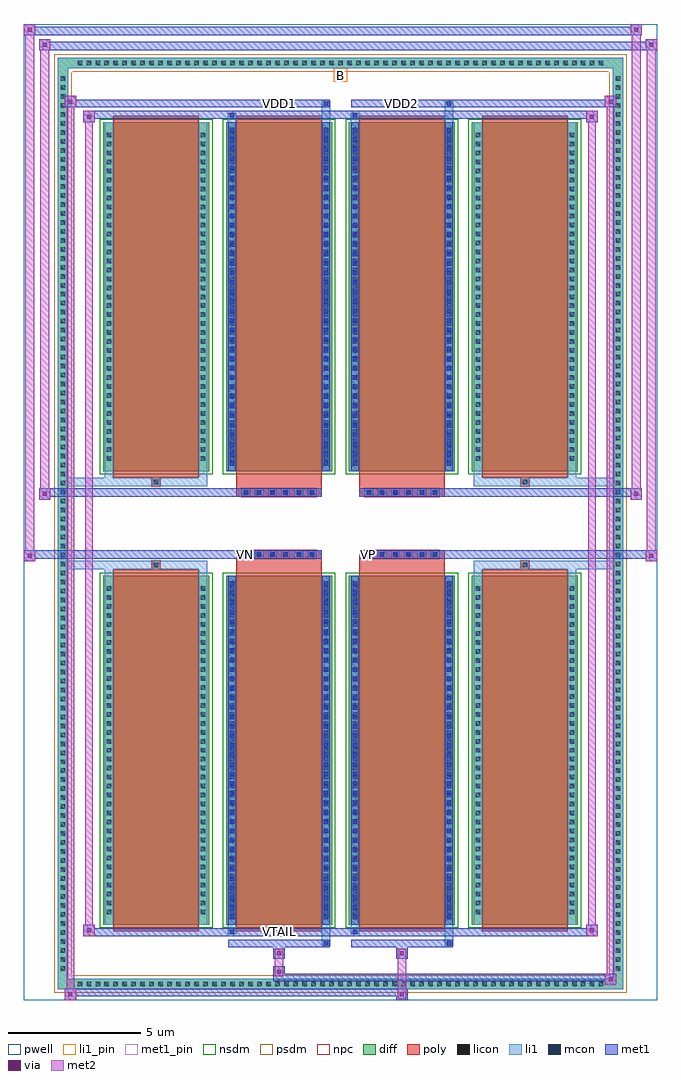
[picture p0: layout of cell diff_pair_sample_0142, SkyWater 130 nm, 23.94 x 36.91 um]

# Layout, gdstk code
import gdstk
lib = gdstk.Library(unit=1e-6, precision=5e-09)
def R(c, l, rs):  # rectangles x0, y0, x1, y1
    for r in rs: c.add(gdstk.rectangle(r[:2], r[2:], *l))
def A(c, l, x, y, w, h, nx, ny, dx, dy):  # array of equal rectangles
    R(c, l, [(x+i*dx, y+j*dy, x+i*dx+w, y+j*dy+h) for i in range(nx) for j in range(ny)])
def P(c, l, *ps):  # polygons
    for p in ps: c.add(gdstk.Polygon(p, *l))
pwell = (64, 44)
diff = (65, 20)
poly = (66, 20)
licon = (66, 44)
li1_pin = (67, 16)
li1 = (67, 20)
mcon = (67, 44)
met1_pin = (68, 16)
met1 = (68, 20)
via = (68, 44)
met2 = (69, 20)
nsdm = (93, 44)
psdm = (94, 20)
npc = (95, 20)

diff_pair_sample_0142 = lib.new_cell('diff_pair_sample_0142')
R(diff_pair_sample_0142, pwell, [(-11.97,-18.02,11.97,18.89), (-9.29,-16.21,-0.01,-0.805), (0.01,-16.21,9.29,-0.805), (-9.29,0.805,-0.01,16.21), (0.01,0.805,9.29,16.21)])
A(diff_pair_sample_0142, diff, -10.065, -17.62, 0.41, 0.41, 59, 2, 0.34, 34.83)
A(diff_pair_sample_0142, diff, -10.7, -17.035, 0.41, 0.41, 1, 100, 0, 0.34)
A(diff_pair_sample_0142, diff, 10.29, -17.035, 0.41, 0.41, 1, 100, 0, 0.34)
A(diff_pair_sample_0142, diff, -8.98, -15.165, 4.01, 13.18, 4, 2, 4.65, 17.15)
R(diff_pair_sample_0142, diff, [(-10.065,-17.62,10.065,-17.21), (-10.7,-17.035,-10.29,17.035), (10.29,-17.035,10.7,17.035), (-10.065,17.21,10.065,17.62)])
P(diff_pair_sample_0142, diff, [(10.7,17.62),(-10.7,17.62),(-10.7,-17.21),(-10.29,-17.21),(-10.29,17.21),(10.29,17.21),(10.29,-17.21),(-10.29,-17.21),(-10.7,-17.21),(-10.7,-17.62),(10.7,-17.62)])
A(diff_pair_sample_0142, poly, -8.59, -15.415, 3.23, 13.68, 4, 2, 4.65, 17.15)
A(diff_pair_sample_0142, poly, -3.74, -1.335, 0.33, 0.33, 6, 2, 0.5, 2.34)
A(diff_pair_sample_0142, poly, 0.91, -1.335, 0.33, 0.33, 6, 2, 0.5, 2.34)
R(diff_pair_sample_0142, poly, [(-7.14,-1.735,-6.81,-1.405), (-7.14,-1.735,-6.81,-1.405), (-3.94,-1.735,-0.71,-1.335), (0.71,-1.735,3.94,-1.335), (6.81,-1.735,7.14,-1.405), (6.81,-1.735,7.14,-1.405), (-3.94,-1.335,-0.71,-1.005), (0.71,-1.335,3.94,-1.005), (-3.94,1.005,-0.71,1.335), (0.71,1.005,3.94,1.335), (-3.94,1.335,-0.71,1.735), (0.71,1.335,3.94,1.735), (-7.14,1.405,-6.81,1.735), (-7.14,1.405,-6.81,1.735), (6.81,1.405,7.14,1.735), (6.81,1.405,7.14,1.735)])
A(diff_pair_sample_0142, licon, -9.945, -17.5, 0.17, 0.17, 59, 2, 0.34, 34.83)
A(diff_pair_sample_0142, licon, -10.58, -16.915, 0.17, 0.17, 1, 100, 0, 0.34)
A(diff_pair_sample_0142, licon, 10.41, -16.915, 0.17, 0.17, 1, 100, 0, 0.34)
A(diff_pair_sample_0142, licon, -8.84, -14.78, 0.17, 0.17, 1, 37, 0, 0.34)
A(diff_pair_sample_0142, licon, -5.28, -14.78, 0.17, 0.17, 1, 37, 0, 0.34)
A(diff_pair_sample_0142, licon, -4.19, -14.78, 0.17, 0.17, 1, 37, 0, 0.34)
A(diff_pair_sample_0142, licon, -0.63, -14.78, 0.17, 0.17, 1, 37, 0, 0.34)
A(diff_pair_sample_0142, licon, 0.46, -14.78, 0.17, 0.17, 1, 37, 0, 0.34)
A(diff_pair_sample_0142, licon, 4.02, -14.78, 0.17, 0.17, 1, 37, 0, 0.34)
A(diff_pair_sample_0142, licon, 5.11, -14.78, 0.17, 0.17, 1, 37, 0, 0.34)
A(diff_pair_sample_0142, licon, 8.67, -14.78, 0.17, 0.17, 1, 37, 0, 0.34)
A(diff_pair_sample_0142, licon, -3.66, -1.255, 0.17, 0.17, 6, 2, 0.5, 2.34)
A(diff_pair_sample_0142, licon, 0.99, -1.255, 0.17, 0.17, 6, 2, 0.5, 2.34)
A(diff_pair_sample_0142, licon, -8.84, 2.37, 0.17, 0.17, 1, 37, 0, 0.34)
A(diff_pair_sample_0142, licon, -5.28, 2.37, 0.17, 0.17, 1, 37, 0, 0.34)
A(diff_pair_sample_0142, licon, -4.19, 2.37, 0.17, 0.17, 1, 37, 0, 0.34)
A(diff_pair_sample_0142, licon, -0.63, 2.37, 0.17, 0.17, 1, 37, 0, 0.34)
A(diff_pair_sample_0142, licon, 0.46, 2.37, 0.17, 0.17, 1, 37, 0, 0.34)
A(diff_pair_sample_0142, licon, 4.02, 2.37, 0.17, 0.17, 1, 37, 0, 0.34)
A(diff_pair_sample_0142, licon, 5.11, 2.37, 0.17, 0.17, 1, 37, 0, 0.34)
A(diff_pair_sample_0142, licon, 8.67, 2.37, 0.17, 0.17, 1, 37, 0, 0.34)
R(diff_pair_sample_0142, licon, [(-7.06,-1.655,-6.89,-1.485), (6.89,-1.655,7.06,-1.485), (-7.06,1.485,-6.89,1.655), (6.89,1.485,7.06,1.655)])
R(diff_pair_sample_0142, li1_pin, [(-0.25,16.71,0.25,17.21)])
A(diff_pair_sample_0142, li1, -10.025, -17.58, 0.33, 0.33, 59, 2, 0.34, 34.83)
A(diff_pair_sample_0142, li1, -10.66, -16.995, 0.33, 0.33, 1, 100, 0, 0.34)
A(diff_pair_sample_0142, li1, 10.33, -16.995, 0.33, 0.33, 1, 100, 0, 0.34)
A(diff_pair_sample_0142, li1, -4.19, -14.96, 0.17, 0.17, 1, 36, 0, 0.36)
A(diff_pair_sample_0142, li1, -0.63, -14.96, 0.17, 0.17, 1, 36, 0, 0.36)
A(diff_pair_sample_0142, li1, 0.46, -14.96, 0.17, 0.17, 1, 36, 0, 0.36)
A(diff_pair_sample_0142, li1, 4.02, -14.96, 0.17, 0.17, 1, 36, 0, 0.36)
A(diff_pair_sample_0142, li1, -8.92, -14.86, 0.33, 0.33, 1, 37, 0, 0.34)
A(diff_pair_sample_0142, li1, -5.36, -14.86, 0.33, 0.33, 1, 37, 0, 0.34)
A(diff_pair_sample_0142, li1, -4.27, -14.86, 0.33, 0.33, 1, 37, 0, 0.34)
A(diff_pair_sample_0142, li1, -0.71, -14.86, 0.33, 0.33, 1, 37, 0, 0.34)
A(diff_pair_sample_0142, li1, 0.38, -14.86, 0.33, 0.33, 1, 37, 0, 0.34)
A(diff_pair_sample_0142, li1, 3.94, -14.86, 0.33, 0.33, 1, 37, 0, 0.34)
A(diff_pair_sample_0142, li1, 5.03, -14.86, 0.33, 0.33, 1, 37, 0, 0.34)
A(diff_pair_sample_0142, li1, 8.59, -14.86, 0.33, 0.33, 1, 37, 0, 0.34)
A(diff_pair_sample_0142, li1, -3.74, -1.335, 0.33, 0.33, 6, 2, 0.5, 2.34)
A(diff_pair_sample_0142, li1, 0.91, -1.335, 0.33, 0.33, 6, 2, 0.5, 2.34)
A(diff_pair_sample_0142, li1, -4.19, 2.19, 0.17, 0.17, 1, 36, 0, 0.36)
A(diff_pair_sample_0142, li1, -0.63, 2.19, 0.17, 0.17, 1, 36, 0, 0.36)
A(diff_pair_sample_0142, li1, 0.46, 2.19, 0.17, 0.17, 1, 36, 0, 0.36)
A(diff_pair_sample_0142, li1, 4.02, 2.19, 0.17, 0.17, 1, 36, 0, 0.36)
A(diff_pair_sample_0142, li1, -8.92, 2.29, 0.33, 0.33, 1, 37, 0, 0.34)
A(diff_pair_sample_0142, li1, -5.36, 2.29, 0.33, 0.33, 1, 37, 0, 0.34)
A(diff_pair_sample_0142, li1, -4.27, 2.29, 0.33, 0.33, 1, 37, 0, 0.34)
A(diff_pair_sample_0142, li1, -0.71, 2.29, 0.33, 0.33, 1, 37, 0, 0.34)
A(diff_pair_sample_0142, li1, 0.38, 2.29, 0.33, 0.33, 1, 37, 0, 0.34)
A(diff_pair_sample_0142, li1, 3.94, 2.29, 0.33, 0.33, 1, 37, 0, 0.34)
A(diff_pair_sample_0142, li1, 5.03, 2.29, 0.33, 0.33, 1, 37, 0, 0.34)
A(diff_pair_sample_0142, li1, 8.59, 2.29, 0.33, 0.33, 1, 37, 0, 0.34)
R(diff_pair_sample_0142, li1, [(-10.7,-17.62,-10.29,-17.21), (-10.7,-17.62,-10.29,-17.21), (-10.29,-17.62,10.29,-17.21), (10.29,-17.62,10.7,-17.21), (10.29,-17.62,10.7,-17.21), (-10.7,-17.21,-10.29,17.21), (10.29,-17.21,10.7,17.21), (-0.71,-15.97,-0.38,-15.165), (-0.63,-15.97,-0.46,-15.8), (3.94,-15.97,4.27,-15.165), (4.02,-15.97,4.19,-15.8), (-4.27,-15.54,-3.94,-15.165), (-4.19,-15.54,-4.02,-15.37), (0.38,-15.54,0.71,-15.165), (0.46,-15.54,0.63,-15.37), (-8.92,-15.165,-8.59,-1.985), (-5.36,-15.165,-5.03,-1.985), (-4.27,-15.165,-3.94,-1.985), (-0.71,-15.165,-0.38,-1.985), (0.38,-15.165,0.71,-1.985), (3.94,-15.165,4.27,-1.985), (5.03,-15.165,5.36,-1.985), (8.59,-15.165,8.92,-1.985), (-4.19,-14.96,-4.02,-2.19), (-0.63,-14.96,-0.46,-2.19), (0.46,-14.96,0.63,-2.19), (4.02,-14.96,4.19,-2.19), (-8.92,-1.985,-8.59,-1.405), (-5.36,-1.985,-5.03,-1.405), (5.03,-1.985,5.36,-1.405), (8.59,-1.985,8.92,-1.405), (-10.7,-1.735,-7.14,-1.405), (-8.92,-1.735,-7.14,-1.405), (-7.14,-1.735,-6.81,-1.405), (-6.81,-1.735,-5.03,-1.405), (5.03,-1.735,6.81,-1.405), (6.81,-1.735,7.14,-1.405), (6.81,-1.735,10.7,-1.405), (7.14,-1.735,8.92,-1.405), (-10.7,1.405,-7.14,1.735), (-8.92,1.405,-7.14,1.735), (-8.92,1.405,-8.59,1.985), (-7.14,1.405,-6.81,1.735), (-6.81,1.405,-5.03,1.735), (-5.36,1.405,-5.03,1.985), (5.03,1.405,6.81,1.735), (5.03,1.405,5.36,1.985), (6.81,1.405,7.14,1.735), (6.81,1.405,10.7,1.735), (7.14,1.405,8.92,1.735), (8.59,1.405,8.92,1.985), (-8.92,1.985,-8.59,15.165), (-5.36,1.985,-5.03,15.165), (-4.27,1.985,-3.94,15.165), (-0.71,1.985,-0.38,15.165), (0.38,1.985,0.71,15.165), (3.94,1.985,4.27,15.165), (5.03,1.985,5.36,15.165), (8.59,1.985,8.92,15.165), (-4.19,2.19,-4.02,14.96), (-0.63,2.19,-0.46,14.96), (0.46,2.19,0.63,14.96), (4.02,2.19,4.19,14.96), (-4.27,15.165,-3.94,15.54), (-0.71,15.165,-0.38,15.97), (0.38,15.165,0.71,15.54), (3.94,15.165,4.27,15.97), (-4.19,15.37,-4.02,15.54), (0.46,15.37,0.63,15.54), (-0.63,15.8,-0.46,15.97), (4.02,15.8,4.19,15.97), (-10.7,17.21,-10.29,17.62), (-10.7,17.21,-10.29,17.62), (-10.29,17.21,10.29,17.62), (10.29,17.21,10.7,17.62), (10.29,17.21,10.7,17.62)])
A(diff_pair_sample_0142, mcon, -4.19, -14.96, 0.17, 0.17, 1, 36, 0, 0.36)
A(diff_pair_sample_0142, mcon, -0.63, -14.96, 0.17, 0.17, 1, 36, 0, 0.36)
A(diff_pair_sample_0142, mcon, 0.46, -14.96, 0.17, 0.17, 1, 36, 0, 0.36)
A(diff_pair_sample_0142, mcon, 4.02, -14.96, 0.17, 0.17, 1, 36, 0, 0.36)
A(diff_pair_sample_0142, mcon, -3.66, -1.255, 0.17, 0.17, 6, 2, 0.5, 2.34)
A(diff_pair_sample_0142, mcon, 0.99, -1.255, 0.17, 0.17, 6, 2, 0.5, 2.34)
A(diff_pair_sample_0142, mcon, -4.19, 2.19, 0.17, 0.17, 1, 36, 0, 0.36)
A(diff_pair_sample_0142, mcon, -0.63, 2.19, 0.17, 0.17, 1, 36, 0, 0.36)
A(diff_pair_sample_0142, mcon, 0.46, 2.19, 0.17, 0.17, 1, 36, 0, 0.36)
A(diff_pair_sample_0142, mcon, 4.02, 2.19, 0.17, 0.17, 1, 36, 0, 0.36)
R(diff_pair_sample_0142, mcon, [(-0.63,-15.97,-0.46,-15.8), (4.02,-15.97,4.19,-15.8), (-4.19,-15.54,-4.02,-15.37), (0.46,-15.54,0.63,-15.37), (-4.19,15.37,-4.02,15.54), (0.46,15.37,0.63,15.54), (-0.63,15.8,-0.46,15.97), (4.02,15.8,4.19,15.97)])
R(diff_pair_sample_0142, met1_pin, [(-2.46,-15.58,-2.19,-15.31), (-3.71,-1.295,-3.44,-1.025), (0.94,-1.295,1.21,-1.025), (-2.46,15.76,-2.19,16.03), (2.19,15.76,2.46,16.03)])
A(diff_pair_sample_0142, met1, -4.25, -15.02, 0.29, 0.29, 1, 36, 0, 0.36)
A(diff_pair_sample_0142, met1, -0.69, -15.02, 0.29, 0.29, 1, 36, 0, 0.36)
A(diff_pair_sample_0142, met1, 0.4, -15.02, 0.29, 0.29, 1, 36, 0, 0.36)
A(diff_pair_sample_0142, met1, 3.96, -15.02, 0.29, 0.29, 1, 36, 0, 0.36)
A(diff_pair_sample_0142, met1, -3.72, -1.315, 0.29, 0.29, 6, 2, 0.5, 2.34)
A(diff_pair_sample_0142, met1, 0.93, -1.315, 0.29, 0.29, 6, 2, 0.5, 2.34)
A(diff_pair_sample_0142, met1, -4.25, 2.13, 0.29, 0.29, 1, 36, 0, 0.36)
A(diff_pair_sample_0142, met1, -0.69, 2.13, 0.29, 0.29, 1, 36, 0, 0.36)
A(diff_pair_sample_0142, met1, 0.4, 2.13, 0.29, 0.29, 1, 36, 0, 0.36)
A(diff_pair_sample_0142, met1, 3.96, 2.13, 0.29, 0.29, 1, 36, 0, 0.36)
R(diff_pair_sample_0142, met1, [(-10.43,-18.02,-10,-17.59), (2.11,-18.02,2.54,-17.59), (-10.43,-17.88,2.54,-17.59), (10,-17.45,10.43,-17.02), (-2.54,-17.31,10.43,-17.02), (-2.54,-17.17,-2.11,-16.74), (-2.54,-16.46,-2.11,-16.03), (2.11,-16.46,2.54,-16.03), (-4.25,-16.03,-0.4,-15.74), (-0.69,-16.03,-0.4,-15.74), (0.4,-16.03,4.25,-15.74), (3.96,-16.03,4.25,-15.74), (-9.72,-15.6,-9.29,-15.17), (-9.72,-15.6,-4.25,-15.31), (-4.25,-15.6,-3.96,-15.31), (-4.25,-15.6,-0.4,-15.31), (-0.4,-15.6,0.4,-15.31), (0.4,-15.6,0.69,-15.31), (0.4,-15.6,4.25,-15.31), (4.25,-15.6,9.72,-15.31), (9.29,-15.6,9.72,-15.17), (-4.25,-15.165,-3.96,-1.985), (-0.69,-15.165,-0.4,-1.985), (0.4,-15.165,0.69,-1.985), (3.96,-15.165,4.25,-1.985), (-11.97,-1.435,-11.54,-1.005), (11.54,-1.435,11.97,-1.005), (-11.97,-1.335,-0.71,-1.005), (-3.94,-1.335,-0.71,-1.005), (0.71,-1.335,3.94,-1.005), (0.71,-1.335,11.97,-1.005), (-11.4,0.905,-10.97,1.335), (10.97,0.905,11.4,1.335), (-11.4,1.005,-3.94,1.335), (-3.94,1.005,-0.71,1.335), (0.71,1.005,3.94,1.335), (3.94,1.005,11.4,1.335), (-4.25,1.985,-3.96,15.165), (-0.69,1.985,-0.4,15.165), (0.4,1.985,0.69,15.165), (3.96,1.985,4.25,15.165), (-9.72,15.17,-9.29,15.6), (9.29,15.17,9.72,15.6), (-9.72,15.31,-4.25,15.6), (-4.25,15.31,-3.96,15.6), (-4.25,15.31,-0.4,15.6), (-0.4,15.31,0.4,15.6), (0.4,15.31,0.69,15.6), (0.4,15.31,4.25,15.6), (4.25,15.31,9.72,15.6), (-10.43,15.74,-10,16.17), (-10.43,15.74,-4.25,16.03), (-4.25,15.74,-0.4,16.03), (-0.69,15.74,-0.4,16.03), (0.4,15.74,4.25,16.03), (3.96,15.74,4.25,16.03), (4.25,15.74,10.43,16.03), (10,15.74,10.43,16.17), (-11.4,17.89,-10.97,18.32), (-11.4,17.89,-9.29,18.22), (-9.29,17.89,9.29,18.22), (9.29,17.89,11.97,18.22), (11.54,17.89,11.97,18.32), (-11.97,18.46,-11.54,18.89), (-11.97,18.46,-9.29,18.79), (-9.29,18.46,9.29,18.79), (9.29,18.46,11.4,18.79), (10.97,18.46,11.4,18.89)])
R(diff_pair_sample_0142, via, [(-10.29,-17.88,-10.14,-17.73), (2.25,-17.88,2.4,-17.73), (10.14,-17.31,10.29,-17.16), (-2.4,-17.03,-2.25,-16.88), (-2.4,-16.32,-2.25,-16.17), (2.25,-16.32,2.4,-16.17), (-9.58,-15.46,-9.43,-15.31), (9.43,-15.46,9.58,-15.31), (-11.83,-1.295,-11.68,-1.145), (11.68,-1.295,11.83,-1.145), (-11.26,1.045,-11.11,1.195), (11.11,1.045,11.26,1.195), (-9.58,15.31,-9.43,15.46), (9.43,15.31,9.58,15.46), (-10.29,15.88,-10.14,16.03), (10.14,15.88,10.29,16.03), (-11.26,18.03,-11.11,18.18), (11.68,18.03,11.83,18.18), (-11.83,18.6,-11.68,18.75), (11.11,18.6,11.26,18.75)])
R(diff_pair_sample_0142, met2, [(-10.43,-18.02,-10,-17.59), (-10.36,-18.02,-10.07,16.17), (-10.07,-18.02,-10,-17.59), (-10.38,-17.97,-10.05,-17.64), (2.16,-17.97,2.49,-17.64), (2.16,-17.64,2.49,-16.41), (10,-17.45,10.43,-17.02), (10.07,-17.45,10.36,16.17), (10.36,-17.45,10.43,-17.02), (10.05,-17.4,10.38,-17.07), (-2.49,-17.12,-2.16,-16.79), (-2.49,-16.79,-2.16,-16.41), (-2.49,-16.41,-2.16,-16.08), (2.16,-16.41,2.49,-16.08), (-9.72,-15.6,-9.29,-15.17), (-9.65,-15.6,-9.36,15.6), (-9.36,-15.6,-9.29,-15.17), (9.29,-15.6,9.72,-15.17), (9.36,-15.6,9.65,15.6), (9.65,-15.6,9.72,-15.17), (-9.67,-15.55,-9.34,-15.22), (9.34,-15.55,9.67,-15.22), (-11.97,-1.435,-11.54,-1.005), (-11.92,-1.435,-11.59,18.89), (-11.59,-1.435,-11.54,-1.005), (11.54,-1.435,11.97,-1.005), (11.59,-1.435,11.92,18.32), (11.92,-1.435,11.97,-1.005), (-11.92,-1.385,-11.59,-1.055), (11.59,-1.385,11.92,-1.055), (-11.4,0.905,-10.97,1.335), (-11.35,0.905,-11.02,18.32), (-11.02,0.905,-10.97,1.335), (10.97,0.905,11.4,1.335), (11.02,0.905,11.35,18.89), (11.35,0.905,11.4,1.335), (-11.35,0.955,-11.02,1.285), (11.02,0.955,11.35,1.285), (-9.72,15.17,-9.29,15.6), (-9.36,15.17,-9.29,15.6), (9.29,15.17,9.72,15.6), (9.65,15.17,9.72,15.6), (-9.67,15.22,-9.34,15.55), (9.34,15.22,9.67,15.55), (-10.43,15.74,-10,16.17), (-10.07,15.74,-10,16.17), (10,15.74,10.43,16.17), (10.36,15.74,10.43,16.17), (-10.38,15.79,-10.05,16.12), (10.05,15.79,10.38,16.12), (-11.4,17.89,-10.97,18.32), (-11.02,17.89,-10.97,18.32), (11.54,17.89,11.97,18.32), (11.92,17.89,11.97,18.32), (-11.35,17.94,-11.02,18.27), (11.59,17.94,11.92,18.27), (-11.97,18.46,-11.54,18.89), (-11.59,18.46,-11.54,18.89), (10.97,18.46,11.4,18.89), (11.35,18.46,11.4,18.89), (-11.92,18.51,-11.59,18.84), (11.02,18.51,11.35,18.84)])
A(diff_pair_sample_0142, nsdm, -9.11, -15.295, 4.27, 13.44, 4, 2, 4.65, 17.15)
P(diff_pair_sample_0142, psdm, [(10.83,17.75),(-10.83,17.75),(-10.83,-17.08),(-10.16,-17.08),(-10.16,17.08),(10.16,17.08),(10.16,-17.08),(-10.16,-17.08),(-10.83,-17.08),(-10.83,-17.75),(10.83,-17.75)])
A(diff_pair_sample_0142, npc, -3.76, -1.355, 0.37, 0.37, 6, 2, 0.5, 2.34)
A(diff_pair_sample_0142, npc, 0.89, -1.355, 0.37, 0.37, 6, 2, 0.5, 2.34)
R(diff_pair_sample_0142, npc, [(-7.16,-1.755,-6.79,-1.385), (6.79,-1.755,7.16,-1.385), (-3.76,-1.355,-2.89,-0.985), (-3.76,-1.355,-2.89,-0.985), (-3.26,-1.355,-2.39,-0.985), (-3.26,-1.355,-2.39,-0.985), (-2.76,-1.355,-1.89,-0.985), (-2.76,-1.355,-1.89,-0.985), (-2.26,-1.355,-1.39,-0.985), (-2.26,-1.355,-1.39,-0.985), (-1.76,-1.355,-0.89,-0.985), (-1.76,-1.355,-0.89,-0.985), (0.89,-1.355,1.76,-0.985), (0.89,-1.355,1.76,-0.985), (1.39,-1.355,2.26,-0.985), (1.39,-1.355,2.26,-0.985), (1.89,-1.355,2.76,-0.985), (1.89,-1.355,2.76,-0.985), (2.39,-1.355,3.26,-0.985), (2.39,-1.355,3.26,-0.985), (2.89,-1.355,3.76,-0.985), (2.89,-1.355,3.76,-0.985), (-3.76,0.985,-2.89,1.355), (-3.76,0.985,-2.89,1.355), (-3.26,0.985,-2.39,1.355), (-3.26,0.985,-2.39,1.355), (-2.76,0.985,-1.89,1.355), (-2.76,0.985,-1.89,1.355), (-2.26,0.985,-1.39,1.355), (-2.26,0.985,-1.39,1.355), (-1.76,0.985,-0.89,1.355), (-1.76,0.985,-0.89,1.355), (0.89,0.985,1.76,1.355), (0.89,0.985,1.76,1.355), (1.39,0.985,2.26,1.355), (1.39,0.985,2.26,1.355), (1.89,0.985,2.76,1.355), (1.89,0.985,2.76,1.355), (2.39,0.985,3.26,1.355), (2.39,0.985,3.26,1.355), (2.89,0.985,3.76,1.355), (2.89,0.985,3.76,1.355), (-7.16,1.385,-6.79,1.755), (6.79,1.385,7.16,1.755)])
diff_pair_sample_0142.add(gdstk.Label('VTAIL', (-2.325,-15.445), layer=68, texttype=5))
diff_pair_sample_0142.add(gdstk.Label('VN', (-3.575,-1.16), layer=68, texttype=5))
diff_pair_sample_0142.add(gdstk.Label('VP', (1.075,-1.16), layer=68, texttype=5))
diff_pair_sample_0142.add(gdstk.Label('B', (0,16.96), layer=67, texttype=5))
diff_pair_sample_0142.add(gdstk.Label('VDD2', (2.325,15.895), layer=68, texttype=5))
diff_pair_sample_0142.add(gdstk.Label('VDD1', (-2.325,15.895), layer=68, texttype=5))

lib.write_gds('diff_pair_sample_0142.gds')
